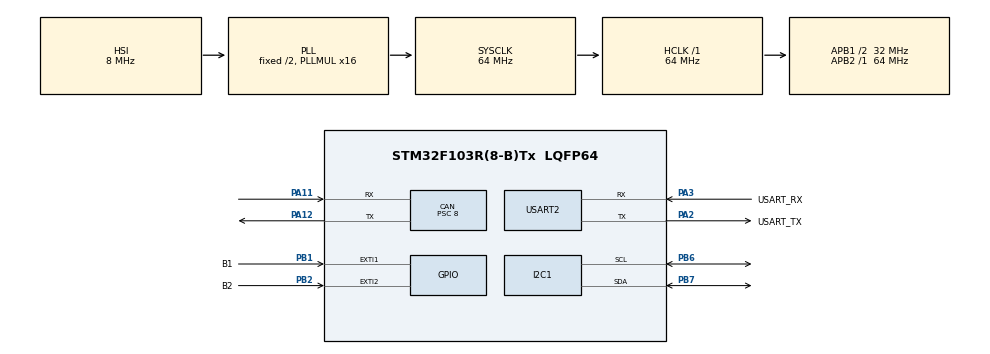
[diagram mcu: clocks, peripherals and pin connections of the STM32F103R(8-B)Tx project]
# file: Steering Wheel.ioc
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CAN.BS1=CAN_BS1_14TQ
CAN.BS2=CAN_BS2_5TQ
CAN.CalculateBaudRate=200000
CAN.CalculateTimeBit=5000
CAN.CalculateTimeQuantum=250.0
CAN.Prescaler=8
I2C1.I2C_Mode=I2C_Fast
Mcu.Family=STM32F1
Mcu.Name=STM32F103R(8-B)Tx
Mcu.Package=LQFP64
NVIC.EXTI1_IRQn=true\:0\:0\:false\:false\:true\:true\:true\:true
NVIC.EXTI2_IRQn=true\:0\:0\:false\:false\:true\:true\:true\:true
NVIC.PriorityGroup=NVIC_PRIORITYGROUP_4
NVIC.USB_LP_CAN1_RX0_IRQn=true\:0\:0\:false\:false\:true\:true\:true\:true
PA11.Mode=CAN_Activate
PA11.Signal=CAN_RX
PA12.Mode=CAN_Activate
PA12.Signal=CAN_TX
PA13.GPIO_Label=TMS
PA13.Mode=Serial_Wire
PA13.Signal=SYS_JTMS-SWDIO
PA14.GPIO_Label=TCK
PA14.Mode=Serial_Wire
PA14.Signal=SYS_JTCK-SWCLK
PA2.GPIO_Label=USART_TX
PA2.GPIO_Mode=GPIO_MODE_AF_PP
PA2.GPIO_PuPd=GPIO_NOPULL
PA2.GPIO_Speed=GPIO_SPEED_FREQ_LOW
PA2.Mode=Asynchronous
PA2.Signal=USART2_TX
PA3.GPIO_Label=USART_RX
PA3.GPIO_Mode=GPIO_MODE_AF_PP
PA3.GPIO_PuPd=GPIO_NOPULL
PA3.GPIO_Speed=GPIO_SPEED_FREQ_LOW
PA3.Mode=Asynchronous
PA3.Signal=USART2_RX
PB1.GPIO_Label=B1
PB1.Signal=GPXTI1
PB2.GPIO_Label=B2
PB2.Signal=GPXTI2
PB3.GPIO_Label=SWO
PB3.Signal=SYS_JTDO-TRACESWO
PB6.Mode=I2C
PB6.Signal=I2C1_SCL
PB7.Mode=I2C
PB7.Signal=I2C1_SDA
PC14-OSC32_IN.Signal=RCC_OSC32_IN
PC15-OSC32_OUT.Signal=RCC_OSC32_OUT
PD0-OSC_IN.Signal=RCC_OSC_IN
PD1-OSC_OUT.Signal=RCC_OSC_OUT
ProjectManager.HeapSize=0x200
ProjectManager.StackSize=0x400
ProjectManager.TargetToolchain=STM32CubeIDE
RCC.AHBFreq_Value=64000000
RCC.APB1CLKDivider=RCC_HCLK_DIV2
RCC.APB1Freq_Value=32000000
RCC.APB1TimFreq_Value=64000000
RCC.APB2Freq_Value=64000000
RCC.APB2TimFreq_Value=64000000
RCC.HCLKFreq_Value=64000000
RCC.PLLMUL=RCC_PLL_MUL16
RCC.RTCClockSelection=RCC_RTCCLKSOURCE_LSE
RCC.SYSCLKFreq_VALUE=64000000
RCC.SYSCLKSource=RCC_SYSCLKSOURCE_PLLCLK
RCC.USBFreq_Value=64000000
USART2.VirtualMode=VM_ASYNC
board=NUCLEO-F103RB

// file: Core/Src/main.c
/* USER CODE BEGIN Header */
/**
  ******************************************************************************
  * @file           : main.c
  * @brief          : Main program body
  ******************************************************************************
  * @attention
  *
  * Copyright (c) 2025 STMicroelectronics.
  * All rights reserved.
  *
  * This software is licensed under terms that can be found in the LICENSE file
  * in the root directory of this software component.
  * If no LICENSE file comes with this software, it is provided AS-IS.
  *
  ******************************************************************************
  */
/* USER CODE END Header */
#include "main.h"

/* USER CODE BEGIN Includes */
#include <stdio.h>

/* USER CODE END Includes */

/* USER CODE BEGIN PTD */
#define AS5600_SLAVE_ADDR   0x36
#define AS5600_REG_ANGLE    0x0E
#define CAN_ANGLE_ID        0x100
#define TCA9548A_ADDR 0x70
#define DRV2605L_ADDR 0x5A
#define DRV2605L_REG_STATUS 0x00
#define DRV2605L_REG_MODE 0x01
#define DRV2605L_REG_RTP_INPUT 0x02
#define DRV2605L_REG_LIBRARY_SEL 0x03
#define DRV2605L_REG_WAVEFORM_SEQ_1 0x04
#define DRV2605L_REG_WAVEFORM_SEQ_2 0x05
#define DRV2605L_REG_GO 0x0C
#define DRV2605L_REG_RATED_VOLTAGE 0x16
#define DRV2605L_REG_OD_CLAMP 0x17
#define DRV2605L_REG_FEEDBACK_CONTROL 0x1A
#define DRV2605L_REG_CONTROL1 0x1B
#define DRV2605L_REG_CONTROL3 0x1D
/* USER CODE END PTD */

/* USER CODE BEGIN PD */
CAN_HandleTypeDef hcan;
I2C_HandleTypeDef hi2c1;
UART_HandleTypeDef huart2;

CAN_TxHeaderTypeDef   TxHeader;
uint8_t               TxData[8];
uint32_t              TxMailbox;

void SystemClock_Config(void);
static void MX_GPIO_Init(void);
static void MX_USART2_UART_Init(void);
static void MX_CAN_Init(void);
static void MX_I2C1_Init(void);

uint16_t as5600_read_angle(void);
HAL_StatusTypeDef select_mux_channel(uint8_t channel);
HAL_StatusTypeDef drv2605l_write_reg(uint8_t channel, uint8_t reg, uint8_t value);
HAL_StatusTypeDef drv2605l_read_reg(uint8_t channel, uint8_t reg, uint8_t *value);
HAL_StatusTypeDef drv2605l_init(uint8_t channel);
HAL_StatusTypeDef drv2605l_play_effect(uint8_t channel, uint8_t effect_id);

#ifdef __GNUC__
#define PUTCHAR_PROTOTYPE int __io_putchar(int ch)
#else
#define PUTCHAR_PROTOTYPE int fputc(int ch, FILE *f)
#endif

PUTCHAR_PROTOTYPE
{
	if (ch == "\n")
		HAL_UART_Transmit (&huart2, (uint8_t*) "\r", 1, 0xFFFF);
	HAL_UART_Transmit (&huart2, (uint8_t*) &ch, 1, 0xFFFF);

	return ch;
}
/* USER CODE END PD */

CAN_HandleTypeDef hcan;

I2C_HandleTypeDef hi2c1;

UART_HandleTypeDef huart2;

/* USER CODE BEGIN PV */
volatile uint8_t b1_pressed_flag = 0;
volatile uint8_t b2_pressed_flag = 0;
uint32_t last_b1_tick = 0;
uint32_t last_b2_tick = 0;
#define DEBOUNCE_TIME_MS 100
/* USER CODE END PV */

void SystemClock_Config(void);
static void MX_GPIO_Init(void);
static void MX_USART2_UART_Init(void);
static void MX_CAN_Init(void);
static void MX_I2C1_Init(void);

int main(void)
{

  /* USER CODE BEGIN 1 */
	char uart_buf[100];
  /* USER CODE END 1 */

  /* MCU Configuration--------------------------------------------------------*/

  /* Reset of all peripherals, Initializes the Flash interface and the Systick. */
  HAL_Init();

  /* Configure the system clock */
  SystemClock_Config();

  /* Initialize all configured peripherals */
  MX_GPIO_Init();
  MX_USART2_UART_Init();
  MX_CAN_Init();
  MX_I2C1_Init();
  /* USER CODE BEGIN 2 */
  if (HAL_I2C_IsDeviceReady(&hi2c1, (AS5600_SLAVE_ADDR << 1), 2, 100) != HAL_OK)
    {
      printf("AS5600 not found!\r\n");
      Error_Handler();
    }
    else
    {
      printf("AS5600 found.\r\n");
    }

    /* --- CAN 통신 시작 --- */
    if (HAL_CAN_Start(&hcan) != HAL_OK)
    {
      printf("CAN Start Failed!\r\n");
      Error_Handler();
    }
    printf("CAN Started Successfully.\r\n");

    TxHeader.StdId = CAN_ANGLE_ID;
    TxHeader.ExtId = 0;
    TxHeader.IDE = CAN_ID_STD;
    TxHeader.RTR = CAN_RTR_DATA;
    TxHeader.DLC = 2;
    TxHeader.TransmitGlobalTime = DISABLE;
  /* USER CODE END 2 */

  /* Infinite loop */
  /* USER CODE BEGIN WHILE */
  while (1)
  {
		  if (b1_pressed_flag == 1) {
			  printf("B1 Pin enabled - Sending CAN 0x101\r\n");
			  TxHeader.StdId = 0x101; TxHeader.DLC = 1; TxData[0] = 0x01;
			  if (HAL_CAN_AddTxMessage(&hcan, &TxHeader, TxData, &TxMailbox) != HAL_OK){ printf("CAN Tx (B1) FAILED!\r\n"); }
			  b1_pressed_flag = 0;
		  }
		  if (b2_pressed_flag == 1) {
			  printf("B2 Pin enabled - Sending CAN 0x101\r\n");
			  TxHeader.StdId = 0x101; TxHeader.DLC = 1; TxData[0] = 0x02;
			  if (HAL_CAN_AddTxMessage(&hcan, &TxHeader, TxData, &TxMailbox) != HAL_OK){ printf("CAN Tx (B2) FAILED!\r\n"); }
			  b2_pressed_flag = 0;
		  }

	      uint16_t raw_angle = (as5600_read_angle() + 1282) % 4096; // angle offset
	      TxData[0] = (uint8_t)(raw_angle & 0xFF);
	      TxData[1] = (uint8_t)((raw_angle >> 8) & 0xFF);
	      TxHeader.StdId = 0x100; TxHeader.DLC = 2;
	      if (HAL_CAN_AddTxMessage(&hcan, &TxHeader, TxData, &TxMailbox) != HAL_OK) { printf("CAN Tx FAILED!\r\n"); }
	      printf("Transmitting Angle: %u degrees\r\n", raw_angle);
	      HAL_Delay(50);
    /* USER CODE END WHILE */

  }
}

void SystemClock_Config(void)
{
  RCC_OscInitTypeDef RCC_OscInitStruct = {0};
  RCC_ClkInitTypeDef RCC_ClkInitStruct = {0};

  /** Initializes the RCC Oscillators according to the specified parameters
  * in the RCC_OscInitTypeDef structure.
  */
  RCC_OscInitStruct.OscillatorType = RCC_OSCILLATORTYPE_HSI;
  RCC_OscInitStruct.HSIState = RCC_HSI_ON;
  RCC_OscInitStruct.HSICalibrationValue = RCC_HSICALIBRATION_DEFAULT;
  RCC_OscInitStruct.PLL.PLLState = RCC_PLL_ON;
  RCC_OscInitStruct.PLL.PLLSource = RCC_PLLSOURCE_HSI_DIV2;
  RCC_OscInitStruct.PLL.PLLMUL = RCC_PLL_MUL16;
  if (HAL_RCC_OscConfig(&RCC_OscInitStruct) != HAL_OK)
  {
    Error_Handler();
  }

  /** Initializes the CPU, AHB and APB buses clocks
  */
  RCC_ClkInitStruct.ClockType = RCC_CLOCKTYPE_HCLK|RCC_CLOCKTYPE_SYSCLK
                              |RCC_CLOCKTYPE_PCLK1|RCC_CLOCKTYPE_PCLK2;
  RCC_ClkInitStruct.SYSCLKSource = RCC_SYSCLKSOURCE_PLLCLK;
  RCC_ClkInitStruct.AHBCLKDivider = RCC_SYSCLK_DIV1;
  RCC_ClkInitStruct.APB1CLKDivider = RCC_HCLK_DIV2;
  RCC_ClkInitStruct.APB2CLKDivider = RCC_HCLK_DIV1;

  if (HAL_RCC_ClockConfig(&RCC_ClkInitStruct, FLASH_LATENCY_2) != HAL_OK)
  {
    Error_Handler();
  }
}

static void MX_CAN_Init(void)
{

  hcan.Instance = CAN1;
  hcan.Init.Prescaler = 8;
  hcan.Init.Mode = CAN_MODE_NORMAL;
  hcan.Init.SyncJumpWidth = CAN_SJW_1TQ;
  hcan.Init.TimeSeg1 = CAN_BS1_14TQ;
  hcan.Init.TimeSeg2 = CAN_BS2_5TQ;
  hcan.Init.TimeTriggeredMode = DISABLE;
  hcan.Init.AutoBusOff = DISABLE;
  hcan.Init.AutoWakeUp = DISABLE;
  hcan.Init.AutoRetransmission = DISABLE;
  hcan.Init.ReceiveFifoLocked = DISABLE;
  hcan.Init.TransmitFifoPriority = DISABLE;
  if (HAL_CAN_Init(&hcan) != HAL_OK)
  {
    Error_Handler();
  }
  /* USER CODE BEGIN CAN_Init 2 */
  CAN_FilterTypeDef sFilterConfig;

    sFilterConfig.FilterBank = 0;
    sFilterConfig.FilterMode = CAN_FILTERMODE_IDMASK;
    sFilterConfig.FilterScale = CAN_FILTERSCALE_32BIT;
    sFilterConfig.FilterIdHigh = 0x0000;
    sFilterConfig.FilterIdLow = 0x0000;
    sFilterConfig.FilterMaskIdHigh = 0x0000;
    sFilterConfig.FilterMaskIdLow = 0x0000;
    sFilterConfig.FilterFIFOAssignment = CAN_RX_FIFO0;
    sFilterConfig.FilterActivation = ENABLE;
    sFilterConfig.SlaveStartFilterBank = 14;

    if (HAL_CAN_ConfigFilter(&hcan, &sFilterConfig) != HAL_OK)
    {
      /* Filter configuration Error */
      printf("!!! HAL_CAN_ConfigFilter FAILED !!!\r\n");
      Error_Handler();
    }
  /* USER CODE END CAN_Init 2 */

}

static void MX_I2C1_Init(void)
{

  hi2c1.Instance = I2C1;
  hi2c1.Init.ClockSpeed = 400000;
  hi2c1.Init.DutyCycle = I2C_DUTYCYCLE_2;
  hi2c1.Init.OwnAddress1 = 0;
  hi2c1.Init.AddressingMode = I2C_ADDRESSINGMODE_7BIT;
  hi2c1.Init.DualAddressMode = I2C_DUALADDRESS_DISABLE;
  hi2c1.Init.OwnAddress2 = 0;
  hi2c1.Init.GeneralCallMode = I2C_GENERALCALL_DISABLE;
  hi2c1.Init.NoStretchMode = I2C_NOSTRETCH_DISABLE;
  if (HAL_I2C_Init(&hi2c1) != HAL_OK)
  {
    Error_Handler();
  }

}

static void MX_USART2_UART_Init(void)
{

  huart2.Instance = USART2;
  huart2.Init.BaudRate = 115200;
  huart2.Init.WordLength = UART_WORDLENGTH_8B;
  huart2.Init.StopBits = UART_STOPBITS_1;
  huart2.Init.Parity = UART_PARITY_NONE;
  huart2.Init.Mode = UART_MODE_TX_RX;
  huart2.Init.HwFlowCtl = UART_HWCONTROL_NONE;
  huart2.Init.OverSampling = UART_OVERSAMPLING_16;
  if (HAL_UART_Init(&huart2) != HAL_OK)
  {
    Error_Handler();
  }

}

static void MX_GPIO_Init(void)
{
  GPIO_InitTypeDef GPIO_InitStruct = {0};

  /* GPIO Ports Clock Enable */
  __HAL_RCC_GPIOC_CLK_ENABLE();
  __HAL_RCC_GPIOD_CLK_ENABLE();
  __HAL_RCC_GPIOA_CLK_ENABLE();
  __HAL_RCC_GPIOB_CLK_ENABLE();

  /*Configure GPIO pins : B1_Pin B2_Pin */
  GPIO_InitStruct.Pin = B1_Pin|B2_Pin;
  GPIO_InitStruct.Mode = GPIO_MODE_IT_RISING;
  GPIO_InitStruct.Pull = GPIO_NOPULL;
  HAL_GPIO_Init(GPIOB, &GPIO_InitStruct);

  /* EXTI interrupt init*/
  HAL_NVIC_SetPriority(EXTI1_IRQn, 0, 0);
  HAL_NVIC_EnableIRQ(EXTI1_IRQn);

  HAL_NVIC_SetPriority(EXTI2_IRQn, 0, 0);
  HAL_NVIC_EnableIRQ(EXTI2_IRQn);

}

/* USER CODE BEGIN 4 */
uint16_t as5600_read_angle(void)
{
  uint8_t i2c_buf[2];
  uint16_t angle_val = 0;

  if (HAL_I2C_Mem_Read(&hi2c1, (AS5600_SLAVE_ADDR << 1), AS5600_REG_ANGLE, I2C_MEMADD_SIZE_8BIT, i2c_buf, 2, 100) == HAL_OK)
  {
    angle_val = (i2c_buf[0] << 8) | i2c_buf[1];
  }
  else
  {
    printf("I2C Read Error! (AS5600)\r\n");
  }

  return angle_val;
}

void HAL_GPIO_EXTI_Callback(uint16_t GPIO_Pin) {
   uint32_t current_tick = HAL_GetTick();

   switch(GPIO_Pin) {
       case (B1_Pin):
          if (current_tick - last_b1_tick > DEBOUNCE_TIME_MS) {
              b1_pressed_flag = 1;
              last_b1_tick = current_tick;
          }
          break;
       case (B2_Pin):
          if (current_tick - last_b2_tick > DEBOUNCE_TIME_MS) {
              b2_pressed_flag = 1;
              last_b2_tick = current_tick;
          }
          break;
       default:
          break;
   }
}

/**
  * @brief 특정 채널의 DRV2605L 레지스터에 값을 씁니다.
  * @param channel: 대상 모터 드라이버의 MUX 채널 (0-7)
  * @param reg: 쓸 레지스터 주소
  * @param value: 쓸 값
  * @retval HAL status
  */
HAL_StatusTypeDef drv2605l_write_reg(uint8_t channel, uint8_t reg, uint8_t value)
{
  HAL_StatusTypeDef status;
  HAL_StatusTypeDef mux_deselect_status; // MUX 비활성화 상태 저장용

  // 1. MUX 채널 선택
  status = select_mux_channel(channel);
  if (status != HAL_OK) {
      select_mux_channel(0xFF); // 오류 시에도 비활성화 시도
      return status;
  }

  status = HAL_I2C_Mem_Write(&hi2c1, (DRV2605L_ADDR << 1), reg, I2C_MEMADD_SIZE_8BIT, &value, 1, 100);
  mux_deselect_status = select_mux_channel(0xFF); // 0xFF 같은 유효하지 않은 채널 번호로 비활성화

  return status;
}

/**
  * @brief 특정 채널의 DRV2605L 레지스터 값을 읽습니다. (MUX Deselect 추가됨)
  * @param channel: 대상 모터 드라이버의 MUX 채널 (0-7)
  * @param reg: 읽을 레지스터 주소
  * @param value: 읽은 값을 저장할 포인터
  * @retval HAL status
  */
HAL_StatusTypeDef drv2605l_read_reg(uint8_t channel, uint8_t reg, uint8_t *value)
{
  HAL_StatusTypeDef status;
  HAL_StatusTypeDef mux_deselect_status;

  status = select_mux_channel(channel);
  if (status != HAL_OK) {
      select_mux_channel(0xFF);
      return status;
  }

  status = HAL_I2C_Mem_Read(&hi2c1, (DRV2605L_ADDR << 1), reg, I2C_MEMADD_SIZE_8BIT, value, 1, 100);

  mux_deselect_status = select_mux_channel(0xFF);

  return status;
}

/**
  * @brief [수정됨] 특정 채널의 DRV2605L을 LRA 폐쇄 루프 모드로 초기화/보정합니다.
  * @brief (VLV101040A 170Hz LRA @ 5.0V V_BAT 기준)
  * @param channel: 초기화할 모터 드라이버의 MUX 채널 (0-7)
  * @retval HAL status
  */
HAL_StatusTypeDef drv2605l_init(uint8_t channel)
{
  HAL_StatusTypeDef status;
  uint8_t temp_reg_val;
  char dbg_buf[80];
  status = drv2605l_read_reg(channel, DRV2605L_REG_STATUS, &temp_reg_val);
  if (status != HAL_OK) {
      snprintf(dbg_buf, sizeof(dbg_buf), "Ch %d Init: Failed read Status\r\n", channel);
      printf(dbg_buf);
      return status;
  }
  if ((temp_reg_val >> 5) != 0x07) { // Device ID for DRV2605L should be 7
      snprintf(dbg_buf, sizeof(dbg_buf), "Ch %d Init: Wrong Device ID: 0x%02X\r\n", channel, temp_reg_val);
      printf(dbg_buf);
      return HAL_ERROR;
  }

  status = drv2605l_write_reg(channel, DRV2605L_REG_MODE, 0x00); // Mode = 0, Standby = 0
  if (status != HAL_OK) { printf("Ch %d Init: Failed exit Standby\r\n", channel); return status; }
  HAL_Delay(5);
  // --- Configure for LRA Closed Loop ---
  status = drv2605l_read_reg(channel, DRV2605L_REG_FEEDBACK_CONTROL, &temp_reg_val);
  if (status != HAL_OK) { printf("Ch %d Init: Failed read FB_CTRL\r\n", channel); return status; }
  temp_reg_val |= (1 << 7);
  status = drv2605l_write_reg(channel, DRV2605L_REG_FEEDBACK_CONTROL, temp_reg_val);
  if (status != HAL_OK) { printf("Ch %d Init: Failed write FB_CTRL\r\n", channel); return status; }

  status = drv2605l_read_reg(channel, DRV2605L_REG_CONTROL3, &temp_reg_val);
  if (status != HAL_OK) { printf("Ch %d Init: Failed read CTRL3\r\n", channel); return status; }
  temp_reg_val &= ~(1 << 0);
  status = drv2605l_write_reg(channel, DRV2605L_REG_CONTROL3, temp_reg_val);
  if (status != HAL_OK) { printf("Ch %d Init: Failed write CTRL3\r\n", channel); return status; }
  status = drv2605l_write_reg(channel, DRV2605L_REG_LIBRARY_SEL, 6);
  if (status != HAL_OK) { printf("Ch %d Init: Failed set Library\r\n", channel); return status; }

  // --- Prepare for Auto-Calibration (LRA 값 수정됨) ---
  uint8_t drive_time_val = 13;
  status = drv2605l_read_reg(channel, DRV2605L_REG_CONTROL1, &temp_reg_val);
  if (status != HAL_OK) { printf("Ch %d Cal: Failed read CTRL1\r\n", channel); return status; }
  temp_reg_val = (temp_reg_val & 0xE0) | (drive_time_val & 0x1F);
  status = drv2605l_write_reg(channel, DRV2605L_REG_CONTROL1, temp_reg_val);
  if (status != HAL_OK) { printf("Ch %d Cal: Failed set Drive Time\r\n", channel); return status; }

  uint8_t rated_voltage_reg_val = 144;
  uint8_t od_clamp_reg_val = 137;

  status = drv2605l_write_reg(channel, DRV2605L_REG_RATED_VOLTAGE, rated_voltage_reg_val);
  if (status != HAL_OK) { printf("Ch %d Cal: Failed set Rated V\r\n", channel); return status; }
  status = drv2605l_write_reg(channel, DRV2605L_REG_OD_CLAMP, od_clamp_reg_val);
  if (status != HAL_OK) { printf("Ch %d Cal: Failed set OD Clamp\r\n", channel); return status; }

  snprintf(dbg_buf, sizeof(dbg_buf), "--> Ch %d: Set LRA, Lib6, DrvT=%d, RateV=0x%02X, ODClp=0x%02X\r\n",
           channel, drive_time_val, rated_voltage_reg_val, od_clamp_reg_val);
  printf(dbg_buf);

  // --- Run Auto-Calibration ---
  status = drv2605l_write_reg(channel, DRV2605L_REG_MODE, 0x07); // Mode = 7
  if (status != HAL_OK) { printf("Ch %d Cal: Failed set Cal Mode\r\n", channel); return status; }
  status = drv2605l_write_reg(channel, DRV2605L_REG_GO, 1); // Set GO bit
  if (status != HAL_OK) { printf("Ch %d Cal: Failed set GO bit\r\n", channel); return status; }
  HAL_Delay(1500);
  uint8_t cal_status_reg;
  status = drv2605l_read_reg(channel, DRV2605L_REG_STATUS, &cal_status_reg);
  if (status != HAL_OK) {
       printf("Ch %d Cal: Failed to read Status after cal\r\n", channel);
       return status;
  } else {
      if (cal_status_reg & (1 << 3)) {
          printf("--> Ch %d: Auto-Calibration FAILED! (DIAG_RESULT=1)\r\n", channel);
          return HAL_ERROR;
      } else {
          printf("--> Ch %d: Auto-Calibration OK.\r\n", channel);
      }
  }
  status = drv2605l_write_reg(channel, DRV2605L_REG_MODE, 0x00); // 0x00 = Internal Trigger mode
  if (status != HAL_OK) { printf("Ch %d Init: Failed set Mode final (Internal Trigger)\r\n", channel); return status; }
  uint8_t mode_read=0;
  drv2605l_read_reg(channel, DRV2605L_REG_MODE, &mode_read);
  printf("--> Ch %d Final Check: Mode=0x%02X\r\n", channel, mode_read);

  return HAL_OK;
}

/**
  * @brief 특정 채널의 DRV2605L에서 지정된 라이브러리 효과를 재생합니다.
  * @param channel: 재생할 모터 드라이버의 MUX 채널 (0-7)
  * @param effect_id: 재생할 효과 ID (1-123)
  * @retval HAL status
  */
HAL_StatusTypeDef drv2605l_play_effect(uint8_t channel, uint8_t effect_id)
{
  HAL_StatusTypeDef status;
  uint8_t go_status;

  if (effect_id == 0 || effect_id > 123) return HAL_ERROR;
  status = drv2605l_write_reg(channel, DRV2605L_REG_WAVEFORM_SEQ_1, effect_id);
  if (status != HAL_OK) return status;
  status = drv2605l_write_reg(channel, DRV2605L_REG_WAVEFORM_SEQ_2, 0x00);
  if (status != HAL_OK) return status;
  status = drv2605l_write_reg(channel, DRV2605L_REG_GO, 0x01);
  return status;
}

/**
  * @brief  CAN RX FIFO 0에 메시지가 수신되면 호출되는 콜백 함수
  * @brief  [수정됨] 수신된 데이터에 따라 16번 이펙트를 재생합니다.
  */
void HAL_CAN_RxFifo0MsgPendingCallback(CAN_HandleTypeDef *hcan)
{
    CAN_RxHeaderTypeDef   RxHeader;
    uint8_t               RxData[8];
    char uart_buf[100];
    if (HAL_CAN_GetRxMessage(hcan, CAN_RX_FIFO0, &RxHeader, RxData) != HAL_OK)
    {
        return;
    }

    // ID 0x102 = "모터 8개 이펙트 트리거" 명령
    if (RxHeader.StdId == 0x102)
    {
        // 8바이트 데이터(DLC=8)가 왔는지 확인
        if (RxHeader.DLC == 8)
        {
            snprintf(uart_buf, sizeof(uart_buf), ">>> CAN RX [Effect Trigger]: %u %u %u %u %u %u %u %u\r\n",
                     RxData[0], RxData[1], RxData[2], RxData[3],
                     RxData[4], RxData[5], RxData[6], RxData[7]);
            printf("%s", uart_buf);

            // 8개 모터에 대해 이펙트 재생
            for (int i = 0; i < 8; i++)
            {
                // RxData[i] 값이 0이 아니면, 해당 채널(i)에 16번 이펙트를 재생합니다.
                if (RxData[i] != 0)
                {
                    drv2605l_play_effect(i, 16);
                }
            }
        }
    }
  }

HAL_StatusTypeDef read_mux_control_register(uint8_t *control_reg_value) {
    return HAL_I2C_Master_Receive(&hi2c1, (TCA9548A_ADDR << 1), control_reg_value, 1, 100);
}

/**
  * @brief TCA9548A MUX의 특정 채널을 선택하거나 모두 비활성화합니다.
  * @param channel: 선택할 채널 번호 (0-7). 0xFF 또는 다른 값 입력 시 모든 채널 비활성화.
  * @retval HAL status
  */
HAL_StatusTypeDef select_mux_channel(uint8_t channel)
{
  uint8_t mux_cmd = 0; // 기본값: 모든 채널 비활성화
  if (channel < 8)
  {
    mux_cmd = 1 << channel; // 해당 채널 비트만 1로 설정
  }
  HAL_StatusTypeDef status = HAL_I2C_Master_Transmit(&hi2c1, (TCA9548A_ADDR << 1), &mux_cmd, 1, 100);
  return status;
}

/* USER CODE END 4 */

void Error_Handler(void)
{
  __disable_irq();
  while (1)
  {
  }
}
